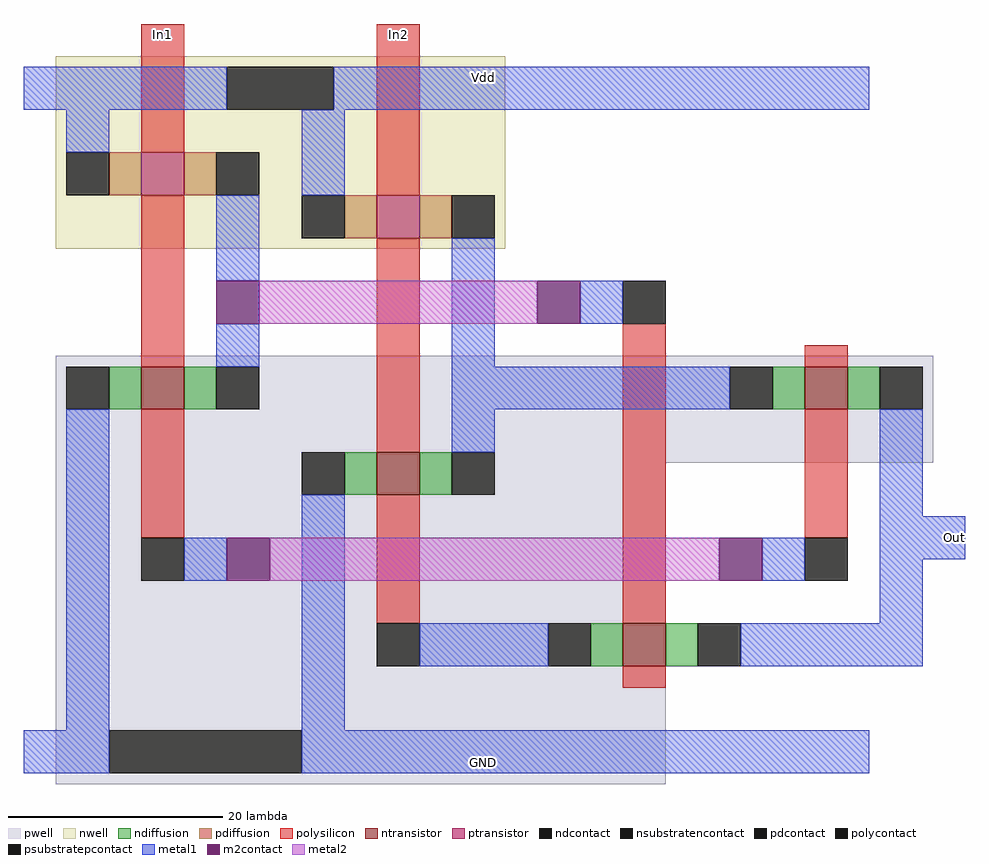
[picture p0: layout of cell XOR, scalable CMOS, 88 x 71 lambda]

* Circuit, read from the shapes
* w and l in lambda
.subckt XOR GND In1 In2 Out Vdd
M1 n1 In1 GND GND nfet w=4 l=4
M2 n2 In2 GND GND nfet w=4 l=4
M3 Out n1 In2 GND nfet w=4 l=4
M4 Out In1 n2 GND nfet w=4 l=4
M5 n1 In1 Vdd Vdd pfet w=4 l=4
M6 n2 In2 Vdd Vdd pfet w=4 l=4
.ends

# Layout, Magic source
magic
tech scmos
<< pwell >>
rect -17 -17 65 -7
rect -17 -47 40 -17
<< nwell >>
rect -17 3 25 21
<< polysilicon >>
rect -9 12 -5 24
rect 13 8 17 24
rect -9 -8 -5 8
rect -9 -24 -5 -12
rect 13 -16 17 4
rect 13 -32 17 -20
rect 36 -32 40 -4
rect 53 -8 57 -6
rect 53 -24 57 -12
rect 36 -38 40 -36
<< ndiffusion >>
rect -12 -12 -9 -8
rect -5 -12 -2 -8
rect 10 -20 13 -16
rect 17 -20 20 -16
rect 50 -12 53 -8
rect 57 -12 60 -8
rect 33 -36 36 -32
rect 40 -36 43 -32
<< pdiffusion >>
rect -12 8 -9 12
rect -5 8 -2 12
rect 10 4 13 8
rect 17 4 20 8
<< metal1 >>
rect -20 16 -1 20
rect 9 16 59 20
rect -16 12 -12 16
rect -2 0 2 8
rect 6 8 10 16
rect -2 -8 2 -4
rect 20 -8 24 4
rect 32 -4 36 0
rect 20 -12 46 -8
rect -16 -42 -12 -12
rect 20 -16 24 -12
rect -5 -28 -1 -24
rect 6 -42 10 -20
rect 60 -22 64 -12
rect 49 -28 53 -24
rect 60 -26 68 -22
rect 60 -32 64 -26
rect 17 -36 29 -32
rect 47 -36 64 -32
rect -20 -46 -12 -42
rect 6 -46 59 -42
<< metal2 >>
rect 2 -4 28 0
rect 3 -28 45 -24
<< ntransistor >>
rect -9 -12 -5 -8
rect 13 -20 17 -16
rect 53 -12 57 -8
rect 36 -36 40 -32
<< ptransistor >>
rect -9 8 -5 12
rect 13 4 17 8
<< polycontact >>
rect 36 -4 40 0
rect -9 -28 -5 -24
rect 53 -28 57 -24
rect 13 -36 17 -32
<< ndcontact >>
rect -16 -12 -12 -8
rect -2 -12 2 -8
rect 6 -20 10 -16
rect 20 -20 24 -16
rect 46 -12 50 -8
rect 60 -12 64 -8
rect 29 -36 33 -32
rect 43 -36 47 -32
<< pdcontact >>
rect -16 8 -12 12
rect -2 8 2 12
rect 6 4 10 8
rect 20 4 24 8
<< m2contact >>
rect -2 -4 2 0
rect 28 -4 32 0
rect -1 -28 3 -24
rect 45 -28 49 -24
<< psubstratepcontact >>
rect -12 -46 6 -42
<< nsubstratencontact >>
rect -1 16 9 20
<< labels >>
rlabel metal1 23 -45 23 -45 1 GND
rlabel metal1 23 19 23 19 5 Vdd
rlabel polysilicon -7 23 -7 23 5 In1
rlabel polysilicon 15 23 15 23 5 In2
rlabel metal1 67 -24 67 -24 7 Out
<< end >>
